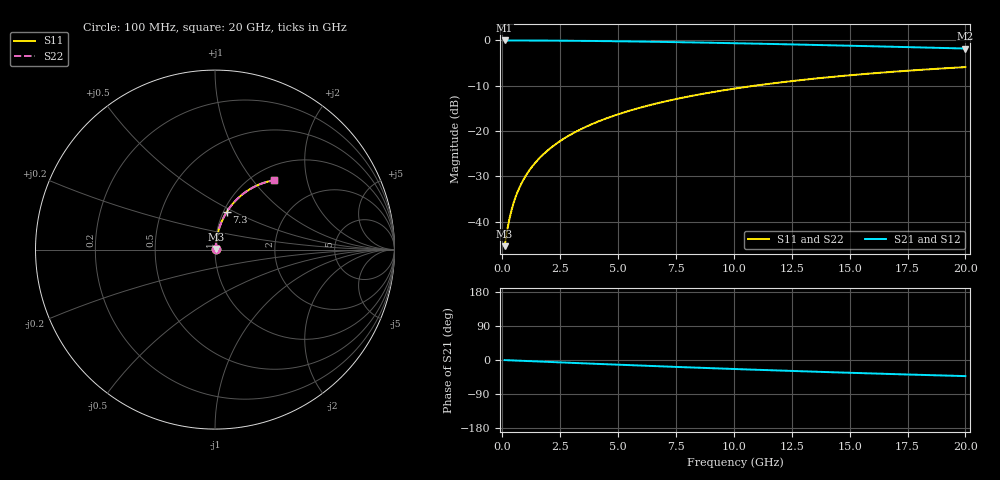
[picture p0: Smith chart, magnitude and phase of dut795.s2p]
! Touchstone file exported from HFSS 2024.1.0
!  File:  C:/UserFiles/LocalFiles/RDL_TSV_Batchsim/temp_RDL_top_795_1779853576.aedt
!  Generated:  11:48:28 AM May 27, 2026
!  Design:  RDL_top
!  Project:  temp_RDL_top_795_1779853576
!  Setup:  Setup1
!  Solution:  Sweep
! Variables:
!  dtsv = 10.80580581um
!  hbump = 3um
!  htsv = 68.94um
!  ldown = 100um
!  lrdl = 515.34um
!  p = 40
!  p1 = 55.52um
!  rhole = 1um
!  t = 450um
!  tdown = 3.915915916um
!  trdl = 4.13um
!  wdown = 15.38538539um
!  wrdl = 10.27um
# GHz S MA R 50.000000
! Terminal data exported
! Port[1] = Box2_T1
! Port[2] = Box2_T2
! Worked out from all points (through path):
!   200 points, 100 MHz to 20 GHz, reference 50 ohm
!   highest |S21| = -0.04 dB at 100 MHz (marker M1); lowest = -1.8 dB at 20 GHz (marker M2)
!   group delay of S21, straight-line fit = 5.91 ps
!   lowest |S11| = -45.4 dB at 100 MHz (marker M3), VSWR 1.01, Z = 50.4 + j0.319 ohm
!   |S11| at or under -10 dB: start of sweep to 10.93 GHz
!   |S22| runs from -45.4 to -5.9 dB; largest |S21 - S12| = 2e-15
!   S11 on the Smith chart (normalised r, x): 100 MHz: 1.01, +0.01; 7.3 GHz: 1.04, +0.46; 20 GHz: 1.24, +1.28
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0.1  0.00537 36.1  0.9957 -0.3  0.9957 -0.3  0.00537 36.1
! Gamma 0 0 0 0
! Port Impedance 50 0 50 0
0.2  0.007708 55.2  0.9956 -0.5  0.9956 -0.5  0.007708 55.2
0.3  0.01049 64.6  0.9955 -0.8  0.9955 -0.8  0.01049 64.6
0.4  0.01343 69.8  0.9954 -1.0  0.9954 -1.0  0.01343 69.8
0.5  0.01644 73.0  0.9953 -1.3  0.9953 -1.3  0.01644 73.0
0.6  0.01947 75.1  0.9951 -1.5  0.9951 -1.5  0.01947 75.1
0.8  0.02557 77.7  0.9948 -2.0  0.9948 -2.0  0.02557 77.7
1.1  0.03474 79.7  0.9942 -2.8  0.9942 -2.8  0.03473 79.7
1.5  0.04697 80.7  0.9933 -3.8  0.9933 -3.8  0.04697 80.7
1.8  0.05614 81.0  0.9925 -4.6  0.9925 -4.6  0.05614 81.0
2.1  0.06531 81.0  0.9915 -5.3  0.9915 -5.3  0.06531 81.0
2.7  0.08361 80.6  0.9891 -6.8  0.9891 -6.8  0.08361 80.6
3.5  0.1079 79.6  0.9852 -8.8  0.9852 -8.8  0.1079 79.6
4.2  0.1289 78.5  0.981 -10.5  0.981 -10.5  0.1289 78.5
5  0.1527 77.1  0.9756 -12.4  0.9756 -12.4  0.1527 77.1
6.8  0.2051 73.7  0.9609 -16.6  0.9609 -16.6  0.2051 73.7
7.3  0.2192 72.7  0.9564 -17.8  0.9564 -17.8  0.2192 72.8
8.6  0.2552 70.2  0.9437 -20.7  0.9437 -20.7  0.2552 70.2
10.1  0.2951 67.3  0.928 -23.9  0.928 -23.9  0.2951 67.3
13.4  0.3758 61.0  0.8903 -30.7  0.8903 -30.7  0.3759 61.0
16.7  0.4463 55.1  0.8507 -36.9  0.8507 -36.9  0.4463 55.1
20  0.5063 49.7  0.8112 -42.5  0.8112 -42.5  0.5064 49.7
